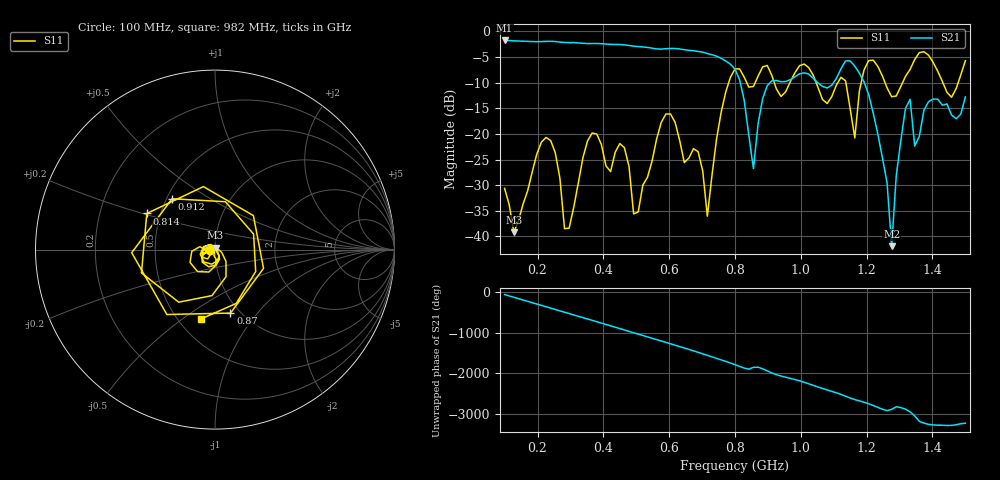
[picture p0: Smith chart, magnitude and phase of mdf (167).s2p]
! NanoVNA-App
! Date: 2025-09-26 09:41:02
! Start: 100MHz Stop: 1,5GHz Points: 101
! S-Parameter data: F S11 S21 S12 S22
# Hz S RI R 50
!  Frequency  S11_Real  S11_Imag  S21_Real  S21_Imag  S12_Real  S12_Imag  S22_Real  S22_Imag
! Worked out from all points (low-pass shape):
!   101 points, 100 MHz to 1.5 GHz, reference 50 ohm
!   highest |S21| = -1.79 dB at 100 MHz (marker M1); lowest = -41.9 dB at 1.276 GHz (marker M2)
!   |S21| within 3 dB of the highest: start of sweep to 740.5 MHz
!   lowest |S11| = -39.2 dB at 128 MHz (marker M3), VSWR 1.02, Z = 50.3 + j1.07 ohm
!   |S11| at or under -10 dB: start of sweep to 780.9 MHz; 1.046 GHz to 1.112 GHz (66.05 MHz wide, 6.12 % of centre); 1.256 GHz to 1.309 GHz (53.53 MHz wide, 4.17 % of centre)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
!   S12 and S22 are empty: the file has one direction only
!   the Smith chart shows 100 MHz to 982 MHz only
!   S11 on the Smith chart (normalised r, x): 100 MHz: 0.94, -0.01; 814 MHz: 0.42, +0.21; 870 MHz: 0.90, -0.74; 912 MHz: 0.53, +0.35; 982 MHz: 0.64, -0.59
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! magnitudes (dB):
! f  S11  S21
! 100 MHz  -30.6  -1.8
! 128 MHz  -39.2  -1.9
! 212 MHz  -21.6  -2.0
! 282 MHz  -38.5  -2.2
! 338 MHz  -24.6  -2.3
! 464 MHz  -22.7  -2.6
! 506 MHz  -35.2  -3.0
! 576 MHz  -17.7  -3.5
! 688 MHz  -23.5  -3.9
! 716 MHz  -36.0  -4.3
! 800 MHz  -7.3  -7.4
! 814 MHz  -7.3  -9.4
! 856 MHz  -10.8  -26.8
! 870 MHz  -8.8  -18.1
! 912 MHz  -8.6  -9.7
! 982 MHz  -8.1  -8.9
! 1.038 GHz  -8.6  -9.2
! 1.164 GHz  -20.8  -6.8
! 1.192 GHz  -7.5  -9.8
! 1.276 GHz  -12.7  -41.9
! 1.318 GHz  -8.8  -15.0
! 1.5 GHz  -5.7  -12.8
